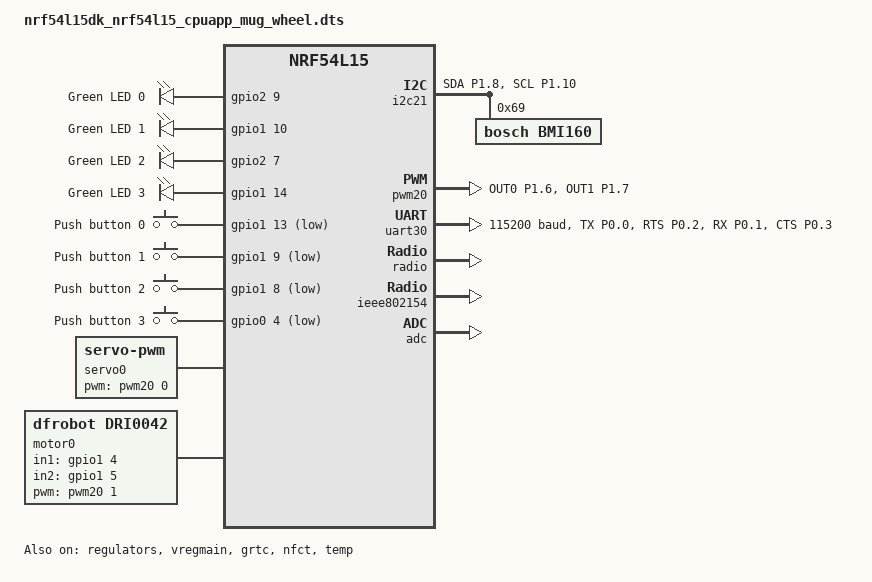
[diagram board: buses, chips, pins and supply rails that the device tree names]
/*
 * Copyright 2025 Nordic Semiconductor ASA
 *
 * SPDX-License-Identifier: Apache-2.0
 */

/*
 * Notable board configurations:
 *
 *   - VDD configured to 3V3 (for testing, when deployed external 3V3 is supplied)
 *   - Debugger UART1 disabled
 *   - UART30 on P0 used for console/shell
 */

/dts-v1/;

#include <nordic/nrf54l15_cpuapp.dtsi>
#include <nordic/nrf54l15_partition.dtsi>

/ {
	chosen {
		zephyr,console = &uart30;
		zephyr,shell-uart = &uart30;
		zephyr,uart-mcumgr = &uart30;
		zephyr,bt-mon-uart = &uart30;
		zephyr,bt-c2h-uart = &uart30;
		zephyr,flash-controller = &rram_controller;
		zephyr,flash = &cpuapp_rram;
		zephyr,ieee802154 = &ieee802154;
		zephyr,code-partition = &slot0_partition;
		zephyr,sram = &cpuapp_sram;
	};

	leds {
		compatible = "gpio-leds";

		led0: led_0 {
			gpios = <&gpio2 9 GPIO_ACTIVE_HIGH>;
			label = "Green LED 0";
		};

		led1: led_1 {
			gpios = <&gpio1 10 GPIO_ACTIVE_HIGH>;
			label = "Green LED 1";
		};

		led2: led_2 {
			gpios = <&gpio2 7 GPIO_ACTIVE_HIGH>;
			label = "Green LED 2";
		};

		led3: led_3 {
			gpios = <&gpio1 14 GPIO_ACTIVE_HIGH>;
			label = "Green LED 3";
		};
	};

	buttons {
		compatible = "gpio-keys";

		button0: button_0 {
			gpios = <&gpio1 13 (GPIO_PULL_UP | GPIO_ACTIVE_LOW)>;
			label = "Push button 0";
			zephyr,code = <INPUT_KEY_0>;
		};

		button1: button_1 {
			gpios = <&gpio1 9 (GPIO_PULL_UP | GPIO_ACTIVE_LOW)>;
			label = "Push button 1";
			zephyr,code = <INPUT_KEY_1>;
		};

		button2: button_2 {
			gpios = <&gpio1 8 (GPIO_PULL_UP | GPIO_ACTIVE_LOW)>;
			label = "Push button 2";
			zephyr,code = <INPUT_KEY_2>;
		};

		button3: button_3 {
			gpios = <&gpio0 4 (GPIO_PULL_UP | GPIO_ACTIVE_LOW)>;
			label = "Push button 3";
			zephyr,code = <INPUT_KEY_3>;
		};
	};

	aliases {
		led0 = &led0;
		led1 = &led1;
		led2 = &led2;
		led3 = &led3;
		sw0 = &button0;
		sw1 = &button1;
		sw2 = &button2;
		sw3 = &button3;
		watchdog0 = &wdt31;
	};

	servo0: servo0 {
		compatible = "zephyr,servo-pwm";
		pwms = <&pwm20 0 PWM_MSEC(20) PWM_POLARITY_NORMAL>;
		pulse-min-ns = <400000>;
		pulse-max-ns = <2600000>;
		status = "okay";
	};

	motor0: motor0 {
		compatible = "dfrobot,dri0042";
		pwms = <&pwm20 1 PWM_MSEC(2) PWM_POLARITY_NORMAL>;
		in1-gpios = <&gpio1 4 GPIO_ACTIVE_HIGH>;
		in2-gpios = <&gpio1 5 GPIO_ACTIVE_HIGH>;
		status = "okay";
	};
};

&pinctrl {
	uart30_default: uart30_default {
		group1 {
			psels = <NRF_PSEL(UART_TX, 0, 0)>,
				<NRF_PSEL(UART_RTS, 0, 2)>;
		};

		group2 {
			psels = <NRF_PSEL(UART_RX, 0, 1)>,
				<NRF_PSEL(UART_CTS, 0, 3)>;
			bias-pull-up;
		};
	};

	uart30_sleep: uart30_sleep {
		group1 {
			psels = <NRF_PSEL(UART_TX, 0, 0)>,
				<NRF_PSEL(UART_RX, 0, 1)>,
				<NRF_PSEL(UART_RTS, 0, 2)>,
				<NRF_PSEL(UART_CTS, 0, 3)>;
			low-power-enable;
		};
	};

	pwm20_default: pwm20_default {
		group1 {
			psels = <NRF_PSEL(PWM_OUT0, 1, 6)>,
				<NRF_PSEL(PWM_OUT1, 1, 7)>;
		};
	};

	pwm20_sleep: pwm20_sleep {
		group1 {
			psels = <NRF_PSEL(PWM_OUT0, 1, 6)>,
				<NRF_PSEL(PWM_OUT1, 1, 7)>;
			low-power-enable;
		};
	};

	i2c21_default: i2c21_default {
		group1 {
			psels = <NRF_PSEL(TWIM_SDA, 1, 8)>,
				<NRF_PSEL(TWIM_SCL, 1, 10)>;
			bias-pull-up;
		};
	};

	i2c21_sleep: i2c21_sleep {
		group1 {
			psels = <NRF_PSEL(TWIM_SDA, 1, 8)>,
				<NRF_PSEL(TWIM_SCL, 1, 10)>;
			low-power-enable;
		};
	};
};

&i2c21 {
	pinctrl-0 = <&i2c21_default>;
	pinctrl-1 = <&i2c21_sleep>;
	pinctrl-names = "default", "sleep";
	zephyr,concat-buf-size = <256>;
	status = "okay";

	bmi160: bmi160@69 {
		reg = <0x69>;
		compatible = "bosch,bmi160";
		status = "okay";
	};
};

&pwm20 {
	status = "okay";
	pinctrl-0 = <&pwm20_default>;
	pinctrl-1 = <&pwm20_sleep>;
	pinctrl-names = "default", "sleep";
};

&hfxo {
	load-capacitors = "internal";
	load-capacitance-femtofarad = <15000>;
	startup-time-us = <854>;
};

&cpuapp_sram {
	status = "okay";
};

&lfxo {
	load-capacitors = "internal";
	load-capacitance-femtofarad = <17000>;
};

&regulators {
	status = "okay";
};

&vregmain {
	status = "okay";
	regulator-initial-mode = <NRF5X_REG_MODE_DCDC>;
};

&grtc {
	owned-channels = <0 1 2 3 4 5 6 7 8 9 10 11>;
	/* Channels 7-11 reserved for Zero Latency IRQs, 3-4 for FLPR */
	child-owned-channels = <3 4 7 8 9 10 11>;
	status = "okay";
};

&uart30 {
	current-speed = <115200>;
	pinctrl-0 = <&uart30_default>;
	pinctrl-1 = <&uart30_sleep>;
	pinctrl-names = "default", "sleep";
	status = "okay";
};

&nfct {
	status = "okay";
};

&gpio0 {
	status = "okay";
};

&gpio1 {
	status = "okay";
};

&gpio2 {
	status = "okay";
};

&gpiote20 {
	status = "okay";
};

&gpiote30 {
	status = "okay";
};

&radio {
	status = "okay";
};

&ieee802154 {
	status = "okay";
};

&temp {
	status = "okay";
};

&clock {
	status = "okay";
};

&adc {
	status = "okay";
};
